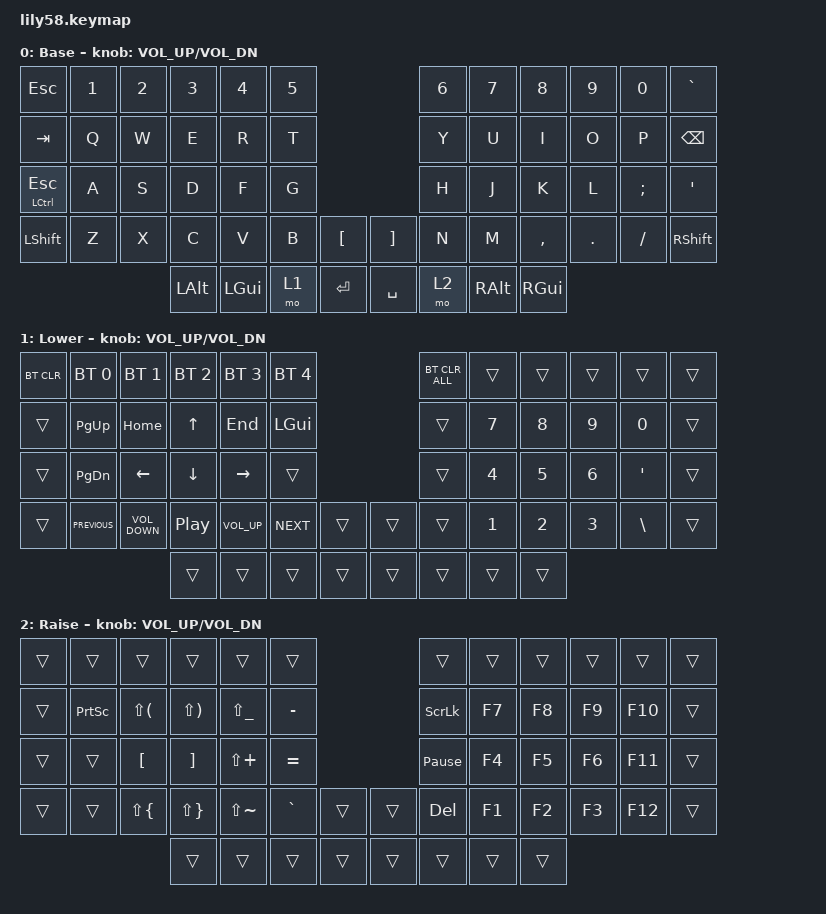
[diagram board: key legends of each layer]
/*
 * Copyright (c) 2020 The ZMK Contributors
 *
 * SPDX-License-Identifier: MIT
 */

#include <behaviors.dtsi>
#include <dt-bindings/zmk/bt.h>
#include <dt-bindings/zmk/keys.h>

/ {
    keymap {
        compatible = "zmk,keymap";

        default_layer {
            // ------------------------------------------------------------------------------------------------------------
            // |  ESC  |  1  |  2  |  3   |  4   |  5   |                   |  6   |  7    |  8    |  9   |   0   |   `   |
            // |  TAB  |  Q  |  W  |  E   |  R   |  T   |                   |  Y   |  U    |  I    |  O   |   P   |   -   |
            // |  CTRL |  A  |  S  |  D   |  F   |  G   |                   |  H   |  J    |  K    |  L   |   ;   |   '   |
            // | SHIFT |  Z  |  X  |  C   |  V   |  B   |   "["  |  |  "]"  |  N   |  M    |  ,    |  .   |   /   | SHIFT |
            //                     | ALT  | GUI  | LOWER|  SPACE |  | ENTER | RAISE| BSPC  | GUI   |

            display-name = "Base";
            bindings = <
&kp ESC        &kp N1  &kp N2  &kp N3    &kp N4    &kp N5                           &kp N6  &kp N7    &kp N8     &kp N9   &kp N0    &kp GRAVE
&kp TAB        &kp Q   &kp W   &kp E     &kp R     &kp T                            &kp Y   &kp U     &kp I      &kp O    &kp P     &kp BACKSPACE
&mt LCTRL ESC  &kp A   &kp S   &kp D     &kp F     &kp G                            &kp H   &kp J     &kp K      &kp L    &kp SEMI  &kp SQT
&kp LSHFT      &kp Z   &kp X   &kp C     &kp V     &kp B   &kp LBKT      &kp RBKT   &kp N   &kp M     &kp COMMA  &kp DOT  &kp FSLH  &kp RSHFT
                               &kp LALT  &kp LGUI  &mo 1   &kp RETURN    &kp SPACE  &mo 2   &kp RALT  &kp RGUI
            >;

            sensor-bindings = <&inc_dec_kp C_VOL_UP C_VOL_DN>;
        };

        lower_layer {
            // ------------------------------------------------------------------------------------------------------------
            // | BTCLR | BT1 | BT2 |  BT3 |  BT4 |  BT5 |                   |      |       |       |      |       |       |
            // |  F1   |  F2 |  F3 |  F4  |  F5  |  F6  |                   |  F7  |  F8   |  F9   |  F10 |  F11  |  F12  |
            // |   `   |  !  |  @  |  #   |  $   |  %   |                   |  ^   |  &    |  *    |  (   |   )   |   ~   |
            // |       |     |     |      |      |      |        |  |       |      |  _    |  +    |  {   |   }   |  "|"  |
            //                     |      |      |      |        |  |       |      |       |       |

            display-name = "Lower";
            bindings = <
&bt BT_CLR  &bt BT_SEL 0    &bt BT_SEL 1       &bt BT_SEL 2      &bt BT_SEL 3     &bt BT_SEL 4                    &bt BT_CLR_ALL  &trans        &trans        &trans        &trans         &trans
&trans      &kp PAGE_UP     &kp HOME           &kp UP            &kp END          &kp LGUI                        &trans          &kp N7        &kp N8        &kp N9        &kp N0         &trans
&trans      &kp PAGE_DOWN   &kp LEFT           &kp DOWN          &kp RIGHT        &trans                          &trans          &kp NUMBER_4  &kp N5        &kp NUMBER_6  &kp SQT        &trans
&trans      &kp C_PREVIOUS  &kp C_VOLUME_DOWN  &kp C_PLAY_PAUSE  &kp C_VOLUME_UP  &kp C_NEXT    &trans    &trans  &trans          &kp NUMBER_1  &kp NUMBER_2  &kp NUMBER_3  &kp BACKSLASH  &trans
                                               &trans            &trans           &trans        &trans    &trans  &trans          &trans        &trans
            >;

            sensor-bindings = <&inc_dec_kp C_VOL_UP C_VOL_DN>;
        };

        raise_layer {
            // ------------------------------------------------------------------------------------------------------------
            // |       |     |     |      |      |      |                   |      |       |       |      |       |       |
            // |   `   |  1  |  2  |  3   |  4   |  5   |                   |  6   |   7   |   8   |  9   |   0   |       |
            // |   F1  |  F2 |  F3 |  F4  |  F5  |  F6  |                   |      |   <-  |   v   |  ^   |  ->   |       |
            // |   F7  |  F8 |  F9 |  F10 |  F11 |  F12 |        |  |       |  +   |   -   |   =   |  [   |   ]   |   \   |
            //                     |      |      |      |        |  |       |      |       |       |

            display-name = "Raise";
            bindings = <
&trans  &trans           &trans        &trans        &trans         &trans                       &trans           &trans  &trans  &trans  &trans   &trans
&trans  &kp PRINTSCREEN  &kp LS(LPAR)  &kp LS(RPAR)  &kp LS(UNDER)  &kp MINUS                    &kp SCROLLLOCK   &kp F7  &kp F8  &kp F9  &kp F10  &trans
&trans  &trans           &kp LBKT      &kp RBKT      &kp LS(PLUS)   &kp EQUAL                    &kp PAUSE_BREAK  &kp F4  &kp F5  &kp F6  &kp F11  &trans
&trans  &trans           &kp LS(LBRC)  &kp LS(RBRC)  &kp LS(TILDE)  &kp GRAVE  &trans    &trans  &kp DELETE       &kp F1  &kp F2  &kp F3  &kp F12  &trans
                                       &trans        &trans         &trans     &trans    &trans  &trans           &trans  &trans
            >;

            sensor-bindings = <&inc_dec_kp C_VOL_UP C_VOL_DN>;
        };
    };
};
